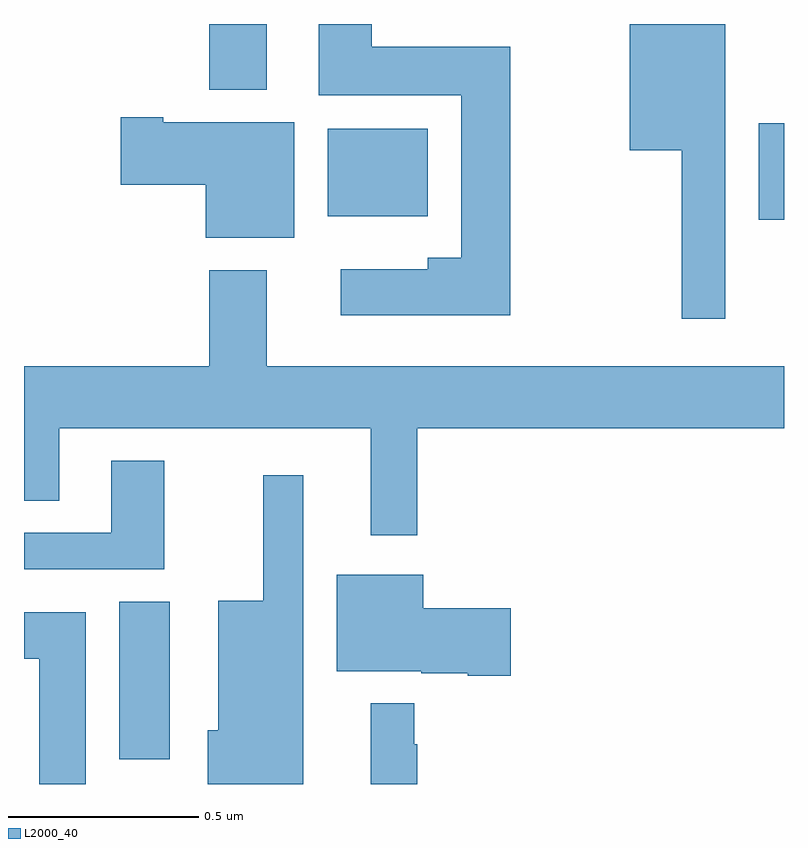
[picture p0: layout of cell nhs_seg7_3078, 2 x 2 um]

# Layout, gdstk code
import gdstk
lib = gdstk.Library(unit=1e-6, precision=1e-09)
def R(c, l, rs):  # rectangles x0, y0, x1, y1
    for r in rs: c.add(gdstk.rectangle(r[:2], r[2:], *l))
def P(c, l, *ps):  # polygons
    for p in ps: c.add(gdstk.Polygon(p, *l))
L2000_40 = (2000, 40)

nhs_seg7_3078 = lib.new_cell('nhs_seg7_3078')
R(nhs_seg7_3078, L2000_40, [(154.25,1013.065,154.384,1013.48), (155.933,1014.485,156,1014.739), (154.799,1014.494,155.062,1014.724), (154.487,1014.827,154.639,1015)])
P(nhs_seg7_3078, L2000_40, [(155.845,1015),(155.594,1015),(155.594,1014.668),(155.731,1014.668),(155.731,1014.225),(155.845,1014.225)],
  [(155.28,1014.94),(154.915,1014.94),(154.915,1015),(154.775,1015),(154.775,1014.812),(155.15,1014.812),(155.15,1014.385),(155.063,1014.385),(155.063,1014.355),(154.833,1014.355),(154.833,1014.233),(155.28,1014.233)],
  [(154.711,1014.742),(154.366,1014.742),(154.366,1014.755),(154.254,1014.755),(154.254,1014.577),(154.478,1014.577),(154.478,1014.437),(154.711,1014.437)],
  [(155.035,1013.936),(156,1013.936),(156,1014.1),(154.639,1014.1),(154.639,1014.352),(154.487,1014.352),(154.487,1014.1),(154,1014.1),(154,1013.746),(154.093,1013.746),(154.093,1013.936),(154.913,1013.936),(154.913,1013.655),(155.035,1013.655)],
  [(154.369,1013.851),(154.229,1013.851),(154.229,1013.661),(154,1013.661),(154,1013.565),(154.369,1013.565)],
  [(154.735,1013.812),(154.629,1013.812),(154.629,1013.482),(154.511,1013.482),(154.511,1013.142),(154.484,1013.142),(154.484,1013),(154.735,1013)],
  [(155.281,1013.463),(155.05,1013.463),(155.05,1013.551),(154.823,1013.551),(154.823,1013.297),(155.046,1013.297),(155.046,1013.291),(155.168,1013.291),(155.168,1013.285),(155.281,1013.285)],
  [(154.162,1013.452),(154,1013.452),(154,1013.33),(154.04,1013.33),(154.04,1013),(154.162,1013)],
  [(155.035,1013.105),(155.027,1013.105),(155.027,1013.212),(154.913,1013.212),(154.913,1013),(155.035,1013)])

lib.write_gds('nhs_seg7_3078.gds')
